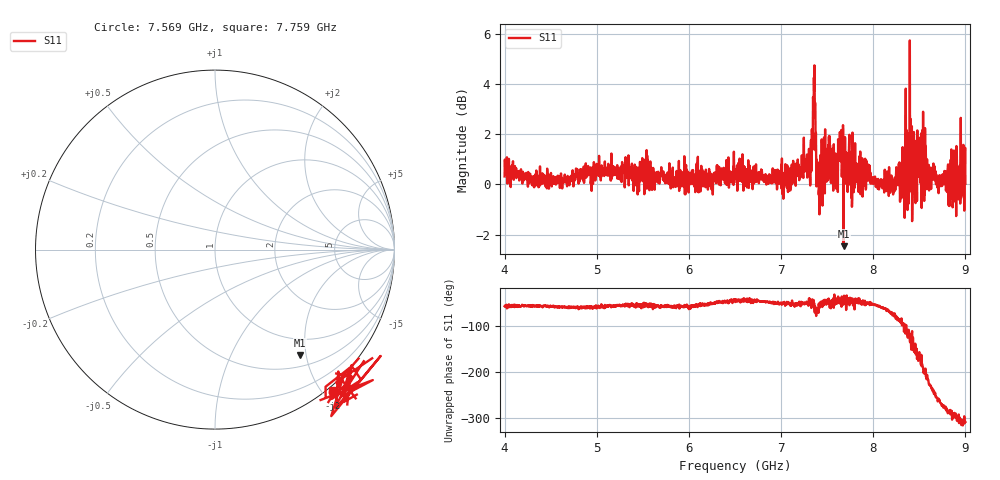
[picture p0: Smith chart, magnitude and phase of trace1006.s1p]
! Created with skrf 1.8.0 (http://scikit-rf.org).
# Hz S RI R 50.0
!freq ReS11 ImS11
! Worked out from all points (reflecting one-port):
!   1601 points, 4 GHz to 9 GHz, reference 50 ohm
!   lowest |S11| = -2.5 dB at 7.678 GHz (marker M1), VSWR 7.10, Z = 34.8 - j94.2 ohm
!   phase of S11 starts at -58 deg and turns -251 deg over the sweep
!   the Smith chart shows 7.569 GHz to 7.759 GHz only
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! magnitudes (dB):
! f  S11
! 4 GHz  0.3
! 4.625 GHz  -0.2
! 5.25 GHz  0.2
! 5.875 GHz  0.1
! 6.5 GHz  0.6
! 7.125 GHz  0.7
! 7.294 GHz  0.8
! 7.319 GHz  0.2
! 7.347 GHz  3.5
! 7.356 GHz  4.3
! 7.409 GHz  -0.4
! 7.509 GHz  0.2
! 7.591 GHz  1.2
! 7.65 GHz  2.0
! 7.678 GHz  -2.5
! 7.703 GHz  0.0
! 7.75 GHz  0.7
! 8.316 GHz  0.5
! 8.338 GHz  -0.3
! 8.356 GHz  0.1
! 8.375 GHz  0.2
! 8.447 GHz  1.7
! 8.522 GHz  2.0
! 8.606 GHz  -0.2
! 8.712 GHz  0.2
! 8.919 GHz  -0.3
! 8.956 GHz  -0.1
! 9 GHz  0.0
